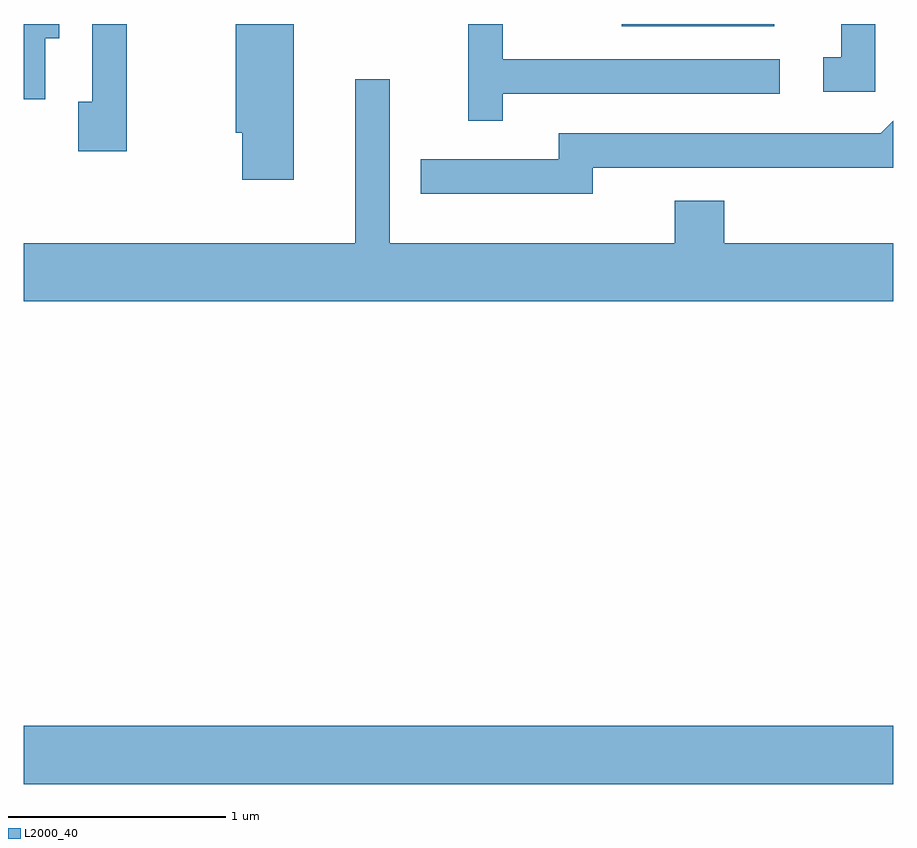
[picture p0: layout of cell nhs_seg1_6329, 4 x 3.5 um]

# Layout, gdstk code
import gdstk
lib = gdstk.Library(unit=1e-6, precision=1e-09)
def R(c, l, rs):  # rectangles x0, y0, x1, y1
    for r in rs: c.add(gdstk.rectangle(r[:2], r[2:], *l))
def P(c, l, *ps):  # polygons
    for p in ps: c.add(gdstk.Polygon(p, *l))
L2000_40 = (2000, 40)

nhs_seg1_6329 = lib.new_cell('nhs_seg1_6329')
R(nhs_seg1_6329, L2000_40, [(375.611,926.216,379.611,926.484), (378.363,929.701,379.064,929.712)])
P(nhs_seg1_6329, L2000_40, [(379.529,929.712),(379.371,929.712),(379.371,929.559),(379.288,929.559),(379.288,929.401),(379.529,929.401)],
  [(376.084,929.712),(375.926,929.712),(375.926,929.354),(375.861,929.354),(375.861,929.126),(376.084,929.126)],
  [(376.854,929.712),(376.586,929.712),(376.586,929.211),(376.616,929.211),(376.616,928.996),(376.854,928.996)],
  [(375.709,929.646),(375.774,929.646),(375.774,929.712),(375.611,929.712),(375.611,929.366),(375.709,929.366)],
  [(377.814,929.391),(379.088,929.391),(379.088,929.549),(377.814,929.549),(377.814,929.712),(377.656,929.712),(377.656,929.268),(377.814,929.268)],
  [(379.611,928.704),(378.834,928.704),(378.834,928.899),(378.606,928.899),(378.606,928.704),(377.294,928.704),(377.294,929.458),(377.136,929.458),(377.136,928.704),(375.611,928.704),(375.611,928.436),(379.611,928.436)],
  [(378.229,929.051),(379.611,929.051),(379.611,929.266),(379.554,929.209),(378.071,929.209),(378.071,929.089),(377.438,929.089),(377.438,928.931),(378.229,928.931)])

lib.write_gds('nhs_seg1_6329.gds')
